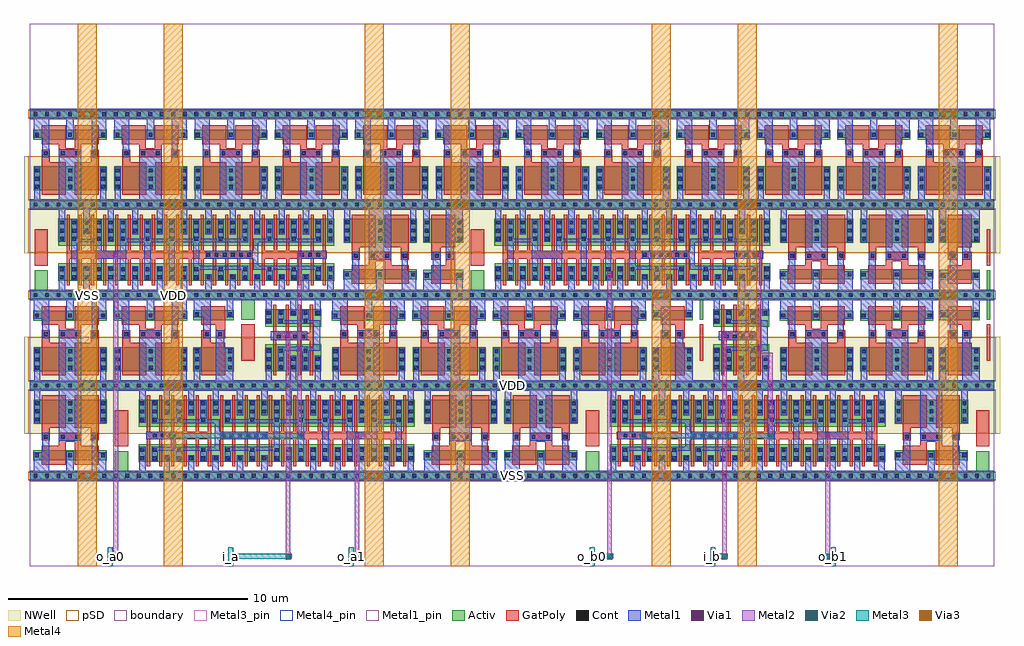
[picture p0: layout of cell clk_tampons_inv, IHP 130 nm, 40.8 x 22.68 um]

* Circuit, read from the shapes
.subckt clk_tampons_inv VDD VSS i_a i_b o_a0 o_a1 o_b0 o_b1
XM1 VSS VDD VSS VSS sg13_lv_nmos w=0.42u l=1u m=59
XM2 o_a0 n1 VSS VSS sg13_lv_nmos w=0.74u l=0.13u m=16
XM3 n2 sg13cmos5l_buf_16_68/A VSS VSS sg13_lv_nmos w=0.74u l=0.13u m=6
XM4 o_a1 n2 VSS VSS sg13_lv_nmos w=0.74u l=0.13u m=16
XM5 n1 sg13cmos5l_buf_16_68/A VSS VSS sg13_lv_nmos w=0.74u l=0.13u m=6
XM6 sg13cmos5l_buf_16_68/A i_a VSS VSS sg13_lv_nmos w=0.74u l=0.13u m=4
XM7 o_b0 n3 VSS VSS sg13_lv_nmos w=0.74u l=0.13u m=16
XM8 n4 sg13cmos5l_buf_16_122/A VSS VSS sg13_lv_nmos w=0.74u l=0.13u m=6
XM9 o_b1 n4 VSS VSS sg13_lv_nmos w=0.74u l=0.13u m=16
XM10 n3 sg13cmos5l_buf_16_122/A VSS VSS sg13_lv_nmos w=0.74u l=0.13u m=6
XM11 sg13cmos5l_buf_16_122/A i_b VSS VSS sg13_lv_nmos w=0.74u l=0.13u m=4
XM12 VDD VSS VDD VDD sg13_lv_pmos w=1u l=1u m=59
XM13 o_a0 n1 VDD VDD sg13_lv_pmos w=1.12u l=0.13u m=16
XM14 n2 sg13cmos5l_buf_16_68/A VDD VDD sg13_lv_pmos w=1.12u l=0.13u m=6
XM15 o_a1 n2 VDD VDD sg13_lv_pmos w=1.12u l=0.13u m=16
XM16 n1 sg13cmos5l_buf_16_68/A VDD VDD sg13_lv_pmos w=1.12u l=0.13u m=6
XM17 sg13cmos5l_buf_16_68/A i_a VDD VDD sg13_lv_pmos w=1.12u l=0.13u m=4
XM18 o_b0 n3 VDD VDD sg13_lv_pmos w=1.12u l=0.13u m=16
XM19 n4 sg13cmos5l_buf_16_122/A VDD VDD sg13_lv_pmos w=1.12u l=0.13u m=6
XM20 o_b1 n4 VDD VDD sg13_lv_pmos w=1.12u l=0.13u m=16
XM21 n3 sg13cmos5l_buf_16_122/A VDD VDD sg13_lv_pmos w=1.12u l=0.13u m=6
XM22 sg13cmos5l_buf_16_122/A i_b VDD VDD sg13_lv_pmos w=1.12u l=0.13u m=4
.ends

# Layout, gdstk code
from math import pi, radians
import gdstk
lib = gdstk.Library(unit=1e-6, precision=1e-09)
def R(c, l, rs):  # rectangles x0, y0, x1, y1
    for r in rs: c.add(gdstk.rectangle(r[:2], r[2:], *l))
def A(c, l, x, y, w, h, nx, ny, dx, dy):  # array of equal rectangles
    R(c, l, [(x+i*dx, y+j*dy, x+i*dx+w, y+j*dy+h) for i in range(nx) for j in range(ny)])
def P(c, l, *ps):  # polygons
    for p in ps: c.add(gdstk.Polygon(p, *l))
Activ = (1, 0)
GatPoly = (5, 0)
Cont = (6, 0)
Metal1 = (8, 0)
Metal1_pin = (8, 2)
Metal2 = (10, 0)
pSD = (14, 0)
Via1 = (19, 0)
Via2 = (29, 0)
Metal3 = (30, 0)
Metal3_pin = (30, 2)
NWell = (31, 0)
Via3 = (49, 0)
Metal4 = (50, 0)
Metal4_pin = (50, 2)
boundary = (189, 4)

via_via1_xy = lib.new_cell('VIA_Via1_XY')
R(via_via1_xy, Metal1, [(-0.145,-0.105,0.145,0.105)])
R(via_via1_xy, Metal2, [(-0.1,-0.145,0.1,0.145)])
R(via_via1_xy, Via1, [(-0.095,-0.095,0.095,0.095)])

sg13cmos5l_inv_4 = lib.new_cell('sg13cmos5l_inv_4')
R(sg13cmos5l_inv_4, Activ, [(0,-0.15,2.88,0.15), (0.245,0.59,2.585,1.33), (0.245,2.06,2.585,3.18), (0,3.63,2.88,3.93)])
P(sg13cmos5l_inv_4, GatPoly, [(0.585,0.41),(0.585,3.36),(0.715,3.36),(0.715,1.9),(1.095,1.9),(1.095,3.36),(1.225,3.36),(1.225,1.9),(1.605,1.9),(1.605,3.36),(1.735,3.36),(1.735,1.9),(2.115,1.9),(2.115,3.36),(2.245,3.36),(2.245,0.41),(2.115,0.41),(2.115,1.57),(1.735,1.57),(1.735,0.41),(1.605,0.41),(1.605,1.57),(1.225,1.57),(1.225,0.41),(1.095,0.41),(1.095,1.57),(0.715,1.57),(0.715,0.41)])
A(sg13cmos5l_inv_4, Cont, 0.315, 0.66, 0.16, 0.16, 5, 2, 0.51, 2.285)
A(sg13cmos5l_inv_4, Cont, 0.735, 1.655, 0.16, 0.16, 4, 1, 0.34, 0)
R(sg13cmos5l_inv_4, Cont, [(0.16,-0.08,0.32,0.08), (0.16,-0.08,0.32,0.08), (0.64,-0.08,0.8,0.08), (0.64,-0.08,0.8,0.08), (1.12,-0.08,1.28,0.08), (1.12,-0.08,1.28,0.08), (1.6,-0.08,1.76,0.08), (1.6,-0.08,1.76,0.08), (2.08,-0.08,2.24,0.08), (2.08,-0.08,2.24,0.08), (2.56,-0.08,2.72,0.08), (2.56,-0.08,2.72,0.08), (0.315,1,0.475,1.16), (0.825,1,0.985,1.16), (1.845,1,2.005,1.16), (0.315,2.255,0.475,2.415), (0.825,2.255,0.985,2.415), (1.845,2.255,2.005,2.415), (1.335,2.595,1.495,2.755), (2.355,2.595,2.515,2.755), (0.315,2.605,0.475,2.765), (0.825,2.605,0.985,2.765), (1.845,2.605,2.005,2.765), (0.16,3.7,0.32,3.86), (0.16,3.7,0.32,3.86), (0.64,3.7,0.8,3.86), (0.64,3.7,0.8,3.86), (1.12,3.7,1.28,3.86), (1.12,3.7,1.28,3.86), (1.6,3.7,1.76,3.86), (1.6,3.7,1.76,3.86), (2.08,3.7,2.24,3.86), (2.08,3.7,2.24,3.86), (2.56,3.7,2.72,3.86), (2.56,3.7,2.72,3.86)])
R(sg13cmos5l_inv_4, Metal1, [(0.48,1.52,2,1.9)])
P(sg13cmos5l_inv_4, Metal1, [(0,-0.22),(0,0.22),(0.265,0.22),(0.265,1.21),(0.525,1.21),(0.525,0.22),(1.28,0.22),(1.28,0.87),(1.55,0.87),(1.55,0.22),(2.305,0.22),(2.305,0.87),(2.565,0.87),(2.565,0.22),(2.88,0.22),(2.88,-0.22)],
  [(0.265,2.205),(0.265,3.56),(0,3.56),(0,4),(2.88,4),(2.88,3.56),(2.565,3.56),(2.565,2.545),(2.305,2.545),(2.305,3.56),(1.545,3.56),(1.545,2.545),(1.285,2.545),(1.285,3.56),(0.525,3.56),(0.525,2.205)],
  [(0.775,0.61),(0.775,1.21),(2.245,1.21),(2.245,2.17),(0.775,2.17),(0.775,3.155),(1.035,3.155),(1.035,2.34),(1.795,2.34),(1.795,3.155),(2.055,3.155),(2.055,2.34),(2.54,2.34),(2.54,1.05),(2.055,1.05),(2.055,0.61),(1.795,0.61),(1.795,1.05),(1.035,1.05),(1.035,0.61)])
R(sg13cmos5l_inv_4, Metal1_pin, [(0,-0.22,2.88,0.22), (2.245,1.05,2.54,2.34), (0.48,1.52,2,1.9), (0,3.56,2.88,4)])
R(sg13cmos5l_inv_4, pSD, [(-0.07,-0.18,2.95,0.18), (-0.07,1.76,2.95,3.6)])
R(sg13cmos5l_inv_4, NWell, [(-0.24,1.75,3.12,4.17)])
R(sg13cmos5l_inv_4, boundary, [(0,0,2.88,3.78)])
sg13cmos5l_inv_4.add(gdstk.Label('VSS', (1.405,0.005), layer=8, texttype=25))
sg13cmos5l_inv_4.add(gdstk.Label('Y', (2.4,1.68), layer=8, texttype=25))
sg13cmos5l_inv_4.add(gdstk.Label('VDD', (1.925,3.8), layer=8, texttype=25))
sg13cmos5l_inv_4.add(gdstk.Label('A', (0.96,1.68), layer=8, texttype=25))

sg13cmos5l_buf_16 = lib.new_cell('sg13cmos5l_buf_16')
R(sg13cmos5l_buf_16, Activ, [(0,-0.15,12,0.15), (0.24,0.59,11.76,1.33), (0.225,2.06,11.76,3.18), (0,3.63,12,3.93)])
P(sg13cmos5l_buf_16, GatPoly, [(0.58,0.41),(0.58,3.36),(0.71,3.36),(0.71,1.85),(1.09,1.85),(1.09,3.36),(1.22,3.36),(1.22,1.85),(1.6,1.85),(1.6,3.36),(1.73,3.36),(1.73,1.85),(2.11,1.85),(2.11,3.36),(2.24,3.36),(2.24,1.85),(2.62,1.85),(2.62,3.36),(2.75,3.36),(2.75,1.85),(3.13,1.85),(3.13,3.36),(3.26,3.36),(3.26,1.85),(3.64,1.85),(3.64,3.36),(3.77,3.36),(3.77,1.85),(4.15,1.85),(4.15,3.36),(4.28,3.36),(4.28,1.85),(4.66,1.85),(4.66,3.36),(4.79,3.36),(4.79,1.85),(5.17,1.85),(5.17,3.36),(5.3,3.36),(5.3,1.85),(5.68,1.85),(5.68,3.36),(5.81,3.36),(5.81,1.85),(6.19,1.85),(6.19,3.36),(6.32,3.36),(6.32,1.85),(6.7,1.85),(6.7,3.36),(6.83,3.36),(6.83,1.85),(7.21,1.85),(7.21,3.36),(7.34,3.36),(7.34,1.85),(7.72,1.85),(7.72,3.36),(7.85,3.36),(7.85,1.85),(8.23,1.85),(8.23,3.36),(8.36,3.36),(8.36,0.41),(8.23,0.41),(8.23,1.52),(7.85,1.52),(7.85,0.41),(7.72,0.41),(7.72,1.52),(7.34,1.52),(7.34,0.41),(7.21,0.41),(7.21,1.52),(6.83,1.52),(6.83,0.41),(6.7,0.41),(6.7,1.52),(6.32,1.52),(6.32,0.41),(6.19,0.41),(6.19,1.52),(5.81,1.52),(5.81,0.41),(5.68,0.41),(5.68,1.52),(5.3,1.52),(5.3,0.41),(5.17,0.41),(5.17,1.52),(4.79,1.52),(4.79,0.41),(4.66,0.41),(4.66,1.52),(4.28,1.52),(4.28,0.41),(4.15,0.41),(4.15,1.52),(3.77,1.52),(3.77,0.41),(3.64,0.41),(3.64,1.52),(3.26,1.52),(3.26,0.41),(3.13,0.41),(3.13,1.52),(2.75,1.52),(2.75,0.41),(2.62,0.41),(2.62,1.52),(2.24,1.52),(2.24,0.41),(2.11,0.41),(2.11,1.52),(1.73,1.52),(1.73,0.41),(1.6,0.41),(1.6,1.52),(1.22,1.52),(1.22,0.41),(1.09,0.41),(1.09,1.52),(0.71,1.52),(0.71,0.41)],
  [(8.74,0.41),(8.74,3.36),(8.87,3.36),(8.87,1.85),(9.25,1.85),(9.25,3.36),(9.38,3.36),(9.38,1.85),(9.76,1.85),(9.76,3.36),(9.89,3.36),(9.89,1.85),(10.27,1.85),(10.27,3.36),(10.4,3.36),(10.4,1.85),(10.78,1.85),(10.78,3.36),(10.91,3.36),(10.91,1.85),(11.29,1.85),(11.29,3.36),(11.42,3.36),(11.42,1.85),(11.46,1.85),(11.46,1.52),(11.42,1.52),(11.42,0.41),(11.29,0.41),(11.29,1.52),(10.91,1.52),(10.91,0.41),(10.78,0.41),(10.78,1.52),(10.4,1.52),(10.4,0.41),(10.27,0.41),(10.27,1.52),(9.89,1.52),(9.89,0.41),(9.76,0.41),(9.76,1.52),(9.38,1.52),(9.38,0.41),(9.25,0.41),(9.25,1.52),(8.87,1.52),(8.87,0.41)])
A(sg13cmos5l_buf_16, Cont, 0.31, 0.66, 0.16, 0.16, 23, 2, 0.51, 1.95)
A(sg13cmos5l_buf_16, Cont, 0.82, 1, 0.16, 0.16, 3, 1, 1.02, 0)
A(sg13cmos5l_buf_16, Cont, 3.37, 1, 0.16, 0.16, 6, 1, 0.51, 0)
A(sg13cmos5l_buf_16, Cont, 6.94, 1, 0.16, 0.16, 5, 1, 1.02, 0)
A(sg13cmos5l_buf_16, Cont, 6.43, 1.605, 0.16, 0.16, 6, 1, 0.34, 0)
A(sg13cmos5l_buf_16, Cont, 10.335, 1.605, 0.16, 0.16, 3, 1, 0.34, 0)
A(sg13cmos5l_buf_16, Cont, 1.84, 2.27, 0.16, 0.16, 3, 1, 0.51, 0)
A(sg13cmos5l_buf_16, Cont, 3.88, 2.27, 0.16, 0.16, 8, 1, 1.02, 0)
A(sg13cmos5l_buf_16, Cont, 0.31, 2.95, 0.16, 0.16, 23, 1, 0.51, 0)
R(sg13cmos5l_buf_16, Cont, [(0.16,-0.08,0.32,0.08), (0.16,-0.08,0.32,0.08), (0.64,-0.08,0.8,0.08), (0.64,-0.08,0.8,0.08), (1.12,-0.08,1.28,0.08), (1.12,-0.08,1.28,0.08), (1.6,-0.08,1.76,0.08), (1.6,-0.08,1.76,0.08), (2.08,-0.08,2.24,0.08), (2.08,-0.08,2.24,0.08), (2.56,-0.08,2.72,0.08), (2.56,-0.08,2.72,0.08), (3.04,-0.08,3.2,0.08), (3.04,-0.08,3.2,0.08), (3.52,-0.08,3.68,0.08), (3.52,-0.08,3.68,0.08), (4,-0.08,4.16,0.08), (4,-0.08,4.16,0.08), (4.48,-0.08,4.64,0.08), (4.48,-0.08,4.64,0.08), (4.96,-0.08,5.12,0.08), (4.96,-0.08,5.12,0.08), (5.44,-0.08,5.6,0.08), (5.44,-0.08,5.6,0.08), (5.92,-0.08,6.08,0.08), (5.92,-0.08,6.08,0.08), (6.4,-0.08,6.56,0.08), (6.4,-0.08,6.56,0.08), (6.88,-0.08,7.04,0.08), (6.88,-0.08,7.04,0.08), (7.36,-0.08,7.52,0.08), (7.36,-0.08,7.52,0.08), (7.84,-0.08,8,0.08), (7.84,-0.08,8,0.08), (8.32,-0.08,8.48,0.08), (8.32,-0.08,8.48,0.08), (8.8,-0.08,8.96,0.08), (8.8,-0.08,8.96,0.08), (9.28,-0.08,9.44,0.08), (9.28,-0.08,9.44,0.08), (9.76,-0.08,9.92,0.08), (9.76,-0.08,9.92,0.08), (10.24,-0.08,10.4,0.08), (10.24,-0.08,10.4,0.08), (10.72,-0.08,10.88,0.08), (10.72,-0.08,10.88,0.08), (11.2,-0.08,11.36,0.08), (11.2,-0.08,11.36,0.08), (11.68,-0.08,11.84,0.08), (11.68,-0.08,11.84,0.08), (0.31,1,0.47,1.16), (11.53,1,11.69,1.16), (1.33,1.005,1.49,1.165), (2.35,1.005,2.51,1.165), (11.53,2.265,11.69,2.425), (0.31,2.27,0.47,2.43), (0.82,2.27,0.98,2.43), (0.16,3.7,0.32,3.86), (0.16,3.7,0.32,3.86), (0.64,3.7,0.8,3.86), (0.64,3.7,0.8,3.86), (1.12,3.7,1.28,3.86), (1.12,3.7,1.28,3.86), (1.6,3.7,1.76,3.86), (1.6,3.7,1.76,3.86), (2.08,3.7,2.24,3.86), (2.08,3.7,2.24,3.86), (2.56,3.7,2.72,3.86), (2.56,3.7,2.72,3.86), (3.04,3.7,3.2,3.86), (3.04,3.7,3.2,3.86), (3.52,3.7,3.68,3.86), (3.52,3.7,3.68,3.86), (4,3.7,4.16,3.86), (4,3.7,4.16,3.86), (4.48,3.7,4.64,3.86), (4.48,3.7,4.64,3.86), (4.96,3.7,5.12,3.86), (4.96,3.7,5.12,3.86), (5.44,3.7,5.6,3.86), (5.44,3.7,5.6,3.86), (5.92,3.7,6.08,3.86), (5.92,3.7,6.08,3.86), (6.4,3.7,6.56,3.86), (6.4,3.7,6.56,3.86), (6.88,3.7,7.04,3.86), (6.88,3.7,7.04,3.86), (7.36,3.7,7.52,3.86), (7.36,3.7,7.52,3.86), (7.84,3.7,8,3.86), (7.84,3.7,8,3.86), (8.32,3.7,8.48,3.86), (8.32,3.7,8.48,3.86), (8.8,3.7,8.96,3.86), (8.8,3.7,8.96,3.86), (9.28,3.7,9.44,3.86), (9.28,3.7,9.44,3.86), (9.76,3.7,9.92,3.86), (9.76,3.7,9.92,3.86), (10.24,3.7,10.4,3.86), (10.24,3.7,10.4,3.86), (10.72,3.7,10.88,3.86), (10.72,3.7,10.88,3.86), (11.2,3.7,11.36,3.86), (11.2,3.7,11.36,3.86), (11.68,3.7,11.84,3.86), (11.68,3.7,11.84,3.86)])
R(sg13cmos5l_buf_16, Metal1, [(10.26,1.52,11.44,1.85)])
P(sg13cmos5l_buf_16, Metal1, [(0.77,0.61),(0.77,3.16),(1.03,3.16),(1.03,2.36),(1.79,2.36),(1.79,3.16),(2.05,3.16),(2.05,1.85),(2.81,1.85),(2.81,3.16),(3.07,3.16),(3.07,2.36),(3.83,2.36),(3.83,3.16),(4.09,3.16),(4.09,2.36),(4.85,2.36),(4.85,3.16),(5.11,3.16),(5.11,2.36),(5.87,2.36),(5.87,3.16),(6.13,3.16),(6.13,2.36),(6.89,2.36),(6.89,3.16),(7.15,3.16),(7.15,2.36),(7.91,2.36),(7.91,3.16),(8.17,3.16),(8.17,2.2),(6.13,2.2),(6.13,1.22),(8.17,1.22),(8.17,0.61),(7.91,0.61),(7.91,1.05),(7.15,1.05),(7.15,0.61),(6.89,0.61),(6.89,1.05),(6.13,1.05),(6.13,0.61),(5.87,0.61),(5.87,2.2),(5.11,2.2),(5.11,0.61),(4.85,0.61),(4.85,2.2),(4.09,2.2),(4.09,0.61),(3.83,0.61),(3.83,2.2),(3.07,2.2),(3.07,0.61),(2.81,0.61),(2.81,1.52),(2.05,1.52),(2.05,0.61),(1.79,0.61),(1.79,2.2),(1.03,2.2),(1.03,0.61)],
  [(8.93,0.61),(8.93,1.05),(8.385,1.05),(8.385,1.52),(6.395,1.52),(6.395,1.85),(8.385,1.85),(8.385,2.36),(8.93,2.36),(8.93,3.16),(9.19,3.16),(9.19,2.36),(9.95,2.36),(9.95,3.16),(10.21,3.16),(10.21,2.36),(10.97,2.36),(10.97,3.16),(11.23,3.16),(11.23,2.2),(8.595,2.2),(8.595,1.22),(11.23,1.22),(11.23,0.61),(10.97,0.61),(10.97,1.05),(10.21,1.05),(10.21,0.61),(9.95,0.61),(9.95,1.05),(9.19,1.05),(9.19,0.61)],
  [(11.48,2.215),(11.48,3.56),(10.72,3.56),(10.72,2.545),(10.46,2.545),(10.46,3.56),(9.7,3.56),(9.7,2.54),(9.44,2.54),(9.44,3.56),(8.68,3.56),(8.68,2.54),(8.42,2.54),(8.42,3.56),(7.66,3.56),(7.66,2.54),(7.4,2.54),(7.4,3.56),(6.64,3.56),(6.64,2.54),(6.38,2.54),(6.38,3.56),(5.62,3.56),(5.62,2.54),(5.36,2.54),(5.36,3.56),(4.6,3.56),(4.6,2.54),(4.34,2.54),(4.34,3.56),(3.58,3.56),(3.58,2.54),(3.32,2.54),(3.32,3.56),(2.56,3.56),(2.56,2.22),(2.3,2.22),(2.3,3.56),(1.54,3.56),(1.54,2.54),(1.28,2.54),(1.28,3.56),(0.52,3.56),(0.52,2.22),(0.26,2.22),(0.26,3.56),(0,3.56),(0,4),(12,4),(12,3.56),(11.74,3.56),(11.74,2.215)],
  [(0,-0.22),(0,0.22),(0.26,0.22),(0.26,1.21),(0.52,1.21),(0.52,0.22),(1.28,0.22),(1.28,1.21),(1.54,1.21),(1.54,0.22),(2.3,0.22),(2.3,1.21),(2.56,1.21),(2.56,0.22),(3.32,0.22),(3.32,1.195),(3.58,1.195),(3.58,0.22),(4.34,0.22),(4.34,1.195),(4.6,1.195),(4.6,0.22),(5.36,0.22),(5.36,1.195),(5.62,1.195),(5.62,0.22),(6.38,0.22),(6.38,0.87),(6.64,0.87),(6.64,0.22),(7.4,0.22),(7.4,0.87),(7.66,0.87),(7.66,0.22),(8.42,0.22),(8.42,0.87),(8.685,0.87),(8.685,0.22),(9.44,0.22),(9.44,0.87),(9.7,0.87),(9.7,0.22),(10.46,0.22),(10.46,0.87),(10.72,0.87),(10.72,0.22),(11.48,0.22),(11.48,1.21),(11.74,1.21),(11.74,0.22),(12,0.22),(12,-0.22)])
R(sg13cmos5l_buf_16, Metal1_pin, [(0,-0.22,12,0.22), (1.79,1.52,3.07,1.85), (10.26,1.52,11.44,1.85), (0,3.56,12,4)])
R(sg13cmos5l_buf_16, pSD, [(-0.07,-0.18,12.07,0.18), (-0.07,1.76,12.07,3.6)])
R(sg13cmos5l_buf_16, NWell, [(-0.24,1.75,12.24,4.17)])
R(sg13cmos5l_buf_16, boundary, [(0,0,12,3.78)])
sg13cmos5l_buf_16.add(gdstk.Label('X', (2.42,1.68), layer=8, texttype=25))
sg13cmos5l_buf_16.add(gdstk.Label('A', (10.855,1.755), layer=8, texttype=25))
sg13cmos5l_buf_16.add(gdstk.Label('VSS', (6.01,0.055), layer=8, texttype=25))
sg13cmos5l_buf_16.add(gdstk.Label('VDD', (5.78,3.835), layer=8, texttype=25))

sg13cmos5l_fill_1 = lib.new_cell('sg13cmos5l_fill_1')
R(sg13cmos5l_fill_1, Activ, [(0,-0.15,0.48,0.15), (0.16,0.15,0.32,1.03), (0,3.63,0.48,3.93)])
R(sg13cmos5l_fill_1, GatPoly, [(0.16,1.23,0.32,2.75)])
R(sg13cmos5l_fill_1, Cont, [(0.16,-0.08,0.32,0.08), (0.16,-0.08,0.32,0.08), (0.16,3.7,0.32,3.86), (0.16,3.7,0.32,3.86)])
R(sg13cmos5l_fill_1, Metal1, [(0,-0.22,0.48,0.22), (0,3.56,0.48,4)])
R(sg13cmos5l_fill_1, Metal1_pin, [(0,-0.22,0.48,0.22), (0,3.56,0.48,4)])
R(sg13cmos5l_fill_1, pSD, [(-0.07,-0.18,0.55,0.18), (-0.07,1.76,0.55,3.6)])
R(sg13cmos5l_fill_1, NWell, [(-0.24,1.75,0.72,4.17)])
R(sg13cmos5l_fill_1, boundary, [(0,0,0.48,3.78)])
sg13cmos5l_fill_1.add(gdstk.Label('VSS', (0.255,0), layer=8, texttype=25))
sg13cmos5l_fill_1.add(gdstk.Label('VDD', (0.245,3.785), layer=8, texttype=25))

sg13cmos5l_decap_4 = lib.new_cell('sg13cmos5l_decap_4')
R(sg13cmos5l_decap_4, Activ, [(0,-0.15,1.92,0.15), (0.12,0.645,1.8,1.065), (0.12,2.18,1.8,3.18), (0,3.63,1.92,3.93)])
P(sg13cmos5l_decap_4, GatPoly, [(0.46,0.465),(0.46,1.245),(1.065,1.245),(1.065,1.8),(1.46,1.8),(1.46,0.465)],
  [(0.46,1.475),(0.46,3.36),(1.46,3.36),(1.46,2),(0.855,2),(0.855,1.475)])
A(sg13cmos5l_decap_4, Cont, 0.16, -0.08, 0.16, 0.16, 4, 2, 0.48, 3.78)
A(sg13cmos5l_decap_4, Cont, 0.19, 2.27, 0.16, 0.16, 1, 3, 0, 0.34)
A(sg13cmos5l_decap_4, Cont, 1.57, 2.27, 0.16, 0.16, 1, 3, 0, 0.34)
R(sg13cmos5l_decap_4, Cont, [(0.19,0.72,0.35,0.88), (1.57,0.72,1.73,0.88), (1.15,1.555,1.31,1.715), (0.61,1.56,0.77,1.72)])
P(sg13cmos5l_decap_4, Metal1, [(1.065,1.47),(1.065,3.56),(0.4,3.56),(0.4,2.22),(0.13,2.22),(0.13,3.56),(0,3.56),(0,4),(1.92,4),(1.92,3.56),(1.79,3.56),(1.79,2.22),(1.405,2.22),(1.405,1.47)],
  [(0,-0.22),(0,0.22),(0.13,0.22),(0.13,0.935),(0.53,0.935),(0.53,1.805),(0.855,1.805),(0.855,0.22),(1.51,0.22),(1.51,0.935),(1.79,0.935),(1.79,0.22),(1.92,0.22),(1.92,-0.22)])
R(sg13cmos5l_decap_4, Metal1_pin, [(0,-0.22,1.92,0.22), (0,3.56,1.92,4)])
R(sg13cmos5l_decap_4, pSD, [(-0.07,-0.18,1.99,0.18), (-0.16,1.76,1.99,3.6)])
R(sg13cmos5l_decap_4, NWell, [(-0.24,1.75,2.16,4.17)])
R(sg13cmos5l_decap_4, boundary, [(0,0,1.92,3.78)])
sg13cmos5l_decap_4.add(gdstk.Label('VSS', (1.08,0), layer=8, texttype=25))
sg13cmos5l_decap_4.add(gdstk.Label('VDD', (0.95,3.78), layer=8, texttype=25))

sg13cmos5l_fill_2 = lib.new_cell('sg13cmos5l_fill_2')
R(sg13cmos5l_fill_2, Activ, [(0,-0.15,0.96,0.15), (0.2,0.15,0.76,1.03), (0,3.63,0.96,3.93)])
R(sg13cmos5l_fill_2, GatPoly, [(0.2,1.23,0.76,2.75)])
R(sg13cmos5l_fill_2, Cont, [(0.16,-0.08,0.32,0.08), (0.16,-0.08,0.32,0.08), (0.64,-0.08,0.8,0.08), (0.64,-0.08,0.8,0.08), (0.16,3.7,0.32,3.86), (0.16,3.7,0.32,3.86), (0.64,3.7,0.8,3.86), (0.64,3.7,0.8,3.86)])
R(sg13cmos5l_fill_2, Metal1, [(0,-0.22,0.96,0.22), (0,3.56,0.96,4)])
R(sg13cmos5l_fill_2, Metal1_pin, [(0,-0.22,0.96,0.22), (0,3.56,0.96,4)])
R(sg13cmos5l_fill_2, pSD, [(-0.07,-0.18,1.03,0.18), (-0.07,1.76,1.03,3.6)])
R(sg13cmos5l_fill_2, NWell, [(-0.24,1.75,1.2,4.17)])
R(sg13cmos5l_fill_2, boundary, [(0,0,0.96,3.78)])
sg13cmos5l_fill_2.add(gdstk.Label('VDD', (0.495,3.78), layer=8, texttype=25))
sg13cmos5l_fill_2.add(gdstk.Label('VSS', (0.49,0), layer=8, texttype=25))

sg13cmos5l_decap_8 = lib.new_cell('sg13cmos5l_decap_8')
R(sg13cmos5l_decap_8, Activ, [(0,-0.15,3.36,0.15), (0.155,0.65,3.215,1.07), (0.165,2.185,3.225,3.185), (0,3.63,3.36,3.93)])
P(sg13cmos5l_decap_8, GatPoly, [(0.505,1.48),(0.505,3.365),(1.505,3.365),(1.505,2.005),(0.835,2.005),(0.835,1.48)],
  [(2.555,1.48),(2.555,2.005),(1.885,2.005),(1.885,3.365),(2.885,3.365),(2.885,1.48)],
  [(0.495,0.47),(0.495,1.25),(1.22,1.25),(1.22,1.805),(2.155,1.805),(2.155,1.25),(2.875,1.25),(2.875,0.47),(1.875,0.47),(1.875,1.415),(1.495,1.415),(1.495,0.47)])
A(sg13cmos5l_decap_8, Cont, 0.16, -0.08, 0.16, 0.16, 7, 2, 0.48, 3.78)
A(sg13cmos5l_decap_8, Cont, 0.225, 0.78, 0.16, 0.16, 3, 1, 1.38, 0)
A(sg13cmos5l_decap_8, Cont, 0.235, 2.275, 0.16, 0.16, 3, 3, 1.38, 0.34)
R(sg13cmos5l_decap_8, Cont, [(1.3,1.555,1.46,1.715), (1.905,1.555,2.065,1.715), (0.59,1.56,0.75,1.72), (2.63,1.56,2.79,1.72)])
P(sg13cmos5l_decap_8, Metal1, [(1.22,1.475),(1.22,3.56),(0.445,3.56),(0.445,2.205),(0.185,2.205),(0.185,3.56),(0,3.56),(0,4),(3.36,4),(3.36,3.56),(3.205,3.56),(3.205,2.21),(2.945,2.21),(2.945,3.56),(2.155,3.56),(2.155,1.475)],
  [(0,-0.22),(0,0.22),(0.175,0.22),(0.175,0.99),(0.52,0.99),(0.52,1.81),(0.81,1.81),(0.81,0.22),(1.53,0.22),(1.53,1.03),(1.835,1.03),(1.835,0.22),(2.585,0.22),(2.585,1.81),(2.835,1.81),(2.835,0.99),(3.195,0.99),(3.195,0.22),(3.36,0.22),(3.36,-0.22)])
R(sg13cmos5l_decap_8, Metal1_pin, [(0,-0.22,3.36,0.22), (0,3.56,3.36,4)])
R(sg13cmos5l_decap_8, pSD, [(-0.07,-0.18,3.43,0.18), (-0.07,1.76,3.43,3.6)])
R(sg13cmos5l_decap_8, NWell, [(-0.24,1.75,3.6,4.17)])
R(sg13cmos5l_decap_8, boundary, [(0,0,3.36,3.78)])
sg13cmos5l_decap_8.add(gdstk.Label('VSS', (1.68,0), layer=8, texttype=25))
sg13cmos5l_decap_8.add(gdstk.Label('VDD', (1.68,3.78), layer=8, texttype=25))

via_via1_2_800_440_1_2_4 = lib.new_cell('VIA_via1_2_800_440_1_2_410_410')
R(via_via1_2_800_440_1_2_4, Metal1, [(-0.35,-0.22,0.35,0.22)])
R(via_via1_2_800_440_1_2_4, Metal2, [(-0.305,-0.145,0.305,0.145)])
R(via_via1_2_800_440_1_2_4, Via1, [(-0.3,-0.095,-0.11,0.095), (0.11,-0.095,0.3,0.095)])

via_via2_3_800_440_1_2_4 = lib.new_cell('VIA_via2_3_800_440_1_2_410_410')
R(via_via2_3_800_440_1_2_4, Metal2, [(-0.305,-0.145,0.305,0.145)])
R(via_via2_3_800_440_1_2_4, Via2, [(-0.3,-0.095,-0.11,0.095), (0.11,-0.095,0.3,0.095)])
R(via_via2_3_800_440_1_2_4, Metal3, [(-0.35,-0.1,0.35,0.1)])

via_via3_4_800_440_1_2_4 = lib.new_cell('VIA_via3_4_800_440_1_2_410_410')
R(via_via3_4_800_440_1_2_4, Metal3, [(-0.35,-0.1,0.35,0.1)])
R(via_via3_4_800_440_1_2_4, Via3, [(-0.3,-0.095,-0.11,0.095), (0.11,-0.095,0.3,0.095)])
R(via_via3_4_800_440_1_2_4, Metal4, [(-0.4,-0.145,0.4,0.145)])

via_via1_yy = lib.new_cell('VIA_Via1_YY')
R(via_via1_yy, Metal1, [(-0.105,-0.145,0.105,0.145)])
R(via_via1_yy, Metal2, [(-0.1,-0.145,0.1,0.145)])
R(via_via1_yy, Via1, [(-0.095,-0.095,0.095,0.095)])

via_via2_yx = lib.new_cell('VIA_Via2_YX')
R(via_via2_yx, Metal2, [(-0.105,-0.145,0.105,0.145)])
R(via_via2_yx, Via2, [(-0.095,-0.095,0.095,0.095)])
R(via_via2_yx, Metal3, [(-0.145,-0.1,0.145,0.1)])

clk_tampons_inv = lib.new_cell('clk_tampons_inv')
A(clk_tampons_inv, Metal1, 0, 3.56, 0.16, 0.44, 1, 5, 0, 3.78)
A(clk_tampons_inv, Metal1, 0, 3.56, 40.32, 0.44, 1, 5, 0, 3.78)
A(clk_tampons_inv, Metal1, 40.16, 3.56, 0.16, 0.44, 1, 5, 0, 3.78)
A(clk_tampons_inv, Metal1_pin, 0, 3.56, 0.16, 0.44, 1, 5, 0, 3.78)
A(clk_tampons_inv, Metal1_pin, 0, 3.56, 40.32, 0.44, 1, 5, 0, 3.78)
A(clk_tampons_inv, Metal1_pin, 40.16, 3.56, 0.16, 0.44, 1, 5, 0, 3.78)
R(clk_tampons_inv, Metal2, [(5.9,4.89,6.1,5.46), (25.58,4.89,25.78,5.46)])
A(clk_tampons_inv, Metal3, 3.26, 0, 0.2, 0.8, 3, 1, 5.04, 0)
A(clk_tampons_inv, Metal3, 23.42, 0, 0.2, 0.8, 3, 1, 5.04, 0)
A(clk_tampons_inv, Metal3_pin, 3.26, 0, 0.2, 0.8, 3, 1, 5.04, 0)
A(clk_tampons_inv, Metal3_pin, 23.42, 0, 0.2, 0.8, 3, 1, 5.04, 0)
R(clk_tampons_inv, Metal4, [(2,0,2.8,0.2), (2,0,2.8,22.68), (5.6,0,6.4,0.2), (5.6,0,6.4,22.68), (14,0,14.8,0.2), (14,0,14.8,22.68), (17.6,0,18.4,0.2), (17.6,0,18.4,22.68), (26,0,26.8,0.2), (26,0,26.8,22.68), (29.6,0,30.4,0.2), (29.6,0,30.4,22.68), (38,0,38.8,0.2), (38,0,38.8,22.68), (2,22.48,2.8,22.68), (5.6,22.48,6.4,22.68), (14,22.48,14.8,22.68), (17.6,22.48,18.4,22.68), (26,22.48,26.8,22.68), (29.6,22.48,30.4,22.68), (38,22.48,38.8,22.68)])
R(clk_tampons_inv, Metal4_pin, [(2,0,2.8,0.2), (2,0,2.8,22.68), (5.6,0,6.4,0.2), (5.6,0,6.4,22.68), (14,0,14.8,0.2), (14,0,14.8,22.68), (17.6,0,18.4,0.2), (17.6,0,18.4,22.68), (26,0,26.8,0.2), (26,0,26.8,22.68), (29.6,0,30.4,0.2), (29.6,0,30.4,22.68), (38,0,38.8,0.2), (38,0,38.8,22.68), (2,22.48,2.8,22.68), (5.6,22.48,6.4,22.68), (14,22.48,14.8,22.68), (17.6,22.48,18.4,22.68), (26,22.48,26.8,22.68), (29.6,22.48,30.4,22.68), (38,22.48,38.8,22.68)])
R(clk_tampons_inv, boundary, [(0,0,40.32,22.68)])
clk_tampons_inv.add(gdstk.FlexPath([(0,15.12),(40.32,15.12)], 0.44, ends="flush", simple_path=True, layer=8, datatype=0))  # Metal1
clk_tampons_inv.add(gdstk.FlexPath([(0,7.56),(40.32,7.56)], 0.44, ends="flush", simple_path=True, layer=8, datatype=0))  # Metal1
clk_tampons_inv.add(gdstk.FlexPath([(0,18.9),(40.32,18.9)], 0.44, ends="flush", simple_path=True, layer=8, datatype=0))  # Metal1
clk_tampons_inv.add(gdstk.FlexPath([(0,11.34),(40.32,11.34)], 0.44, ends="flush", simple_path=True, layer=8, datatype=0))  # Metal1
clk_tampons_inv.add(gdstk.FlexPath([(0,3.78),(40.32,3.78)], 0.44, ends="flush", simple_path=True, layer=8, datatype=0))  # Metal1
clk_tampons_inv.add(gdstk.FlexPath([(10.8,0.42),(10.8,9.66)], 0.2, ends="extended", simple_path=True, layer=10, datatype=0))  # Metal2
clk_tampons_inv.add(gdstk.FlexPath([(29.04,0.42),(29.04,9.66)], 0.2, ends="extended", simple_path=True, layer=10, datatype=0))  # Metal2
clk_tampons_inv.add(gdstk.FlexPath([(3.6,0.42),(3.6,13.02)], 0.2, ends="extended", simple_path=True, layer=10, datatype=0))  # Metal2
clk_tampons_inv.add(gdstk.FlexPath([(13.68,0.42),(13.68,5.46)], 0.2, ends="extended", simple_path=True, layer=10, datatype=0))  # Metal2
clk_tampons_inv.add(gdstk.FlexPath([(24.24,0.42),(24.24,12.18)], 0.2, ends="extended", simple_path=True, layer=10, datatype=0))  # Metal2
clk_tampons_inv.add(gdstk.FlexPath([(33.36,0.42),(33.36,5.46)], 0.2, ends="extended", simple_path=True, layer=10, datatype=0))  # Metal2
clk_tampons_inv.add(gdstk.FlexPath([(11.28,5.46),(11.28,9.085)], 0.2, ends="extended", simple_path=True, layer=10, datatype=0))  # Metal2
clk_tampons_inv.add(gdstk.FlexPath([(11.28,9.085),(11.28,13.02)], 0.2, ends="extended", simple_path=True, layer=10, datatype=0))  # Metal2
clk_tampons_inv.add(gdstk.FlexPath([(30.48,8.82),(30.48,9.085)], 0.2, ends="extended", simple_path=True, layer=10, datatype=0))  # Metal2
clk_tampons_inv.add(gdstk.FlexPath([(30.48,8.82),(30.96,8.82)], 0.2, ends="extended", simple_path=True, layer=10, datatype=0))  # Metal2
clk_tampons_inv.add(gdstk.FlexPath([(30.96,5.46),(30.96,8.82)], 0.2, ends="extended", simple_path=True, layer=10, datatype=0))  # Metal2
clk_tampons_inv.add(gdstk.FlexPath([(30.48,9.085),(30.48,13.02)], 0.2, ends="extended", simple_path=True, layer=10, datatype=0))  # Metal2
clk_tampons_inv.add(gdstk.FlexPath([(29.64,15.12),(30.36,15.12)], 0.2, ends="flush", simple_path=True, layer=30, datatype=0))  # Metal3
clk_tampons_inv.add(gdstk.FlexPath([(29.64,7.56),(30.36,7.56)], 0.2, ends="flush", simple_path=True, layer=30, datatype=0))  # Metal3
clk_tampons_inv.add(gdstk.FlexPath([(17.64,15.12),(18.36,15.12)], 0.2, ends="flush", simple_path=True, layer=30, datatype=0))  # Metal3
clk_tampons_inv.add(gdstk.FlexPath([(17.64,7.56),(18.36,7.56)], 0.2, ends="flush", simple_path=True, layer=30, datatype=0))  # Metal3
clk_tampons_inv.add(gdstk.FlexPath([(5.64,15.12),(6.36,15.12)], 0.2, ends="flush", simple_path=True, layer=30, datatype=0))  # Metal3
clk_tampons_inv.add(gdstk.FlexPath([(5.64,7.56),(6.36,7.56)], 0.2, ends="flush", simple_path=True, layer=30, datatype=0))  # Metal3
clk_tampons_inv.add(gdstk.FlexPath([(38.04,18.9),(38.76,18.9)], 0.2, ends="flush", simple_path=True, layer=30, datatype=0))  # Metal3
clk_tampons_inv.add(gdstk.FlexPath([(38.04,11.34),(38.76,11.34)], 0.2, ends="flush", simple_path=True, layer=30, datatype=0))  # Metal3
clk_tampons_inv.add(gdstk.FlexPath([(38.04,3.78),(38.76,3.78)], 0.2, ends="flush", simple_path=True, layer=30, datatype=0))  # Metal3
clk_tampons_inv.add(gdstk.FlexPath([(26.04,18.9),(26.76,18.9)], 0.2, ends="flush", simple_path=True, layer=30, datatype=0))  # Metal3
clk_tampons_inv.add(gdstk.FlexPath([(26.04,11.34),(26.76,11.34)], 0.2, ends="flush", simple_path=True, layer=30, datatype=0))  # Metal3
clk_tampons_inv.add(gdstk.FlexPath([(26.04,3.78),(26.76,3.78)], 0.2, ends="flush", simple_path=True, layer=30, datatype=0))  # Metal3
clk_tampons_inv.add(gdstk.FlexPath([(14.04,18.9),(14.76,18.9)], 0.2, ends="flush", simple_path=True, layer=30, datatype=0))  # Metal3
clk_tampons_inv.add(gdstk.FlexPath([(14.04,11.34),(14.76,11.34)], 0.2, ends="flush", simple_path=True, layer=30, datatype=0))  # Metal3
clk_tampons_inv.add(gdstk.FlexPath([(14.04,3.78),(14.76,3.78)], 0.2, ends="flush", simple_path=True, layer=30, datatype=0))  # Metal3
clk_tampons_inv.add(gdstk.FlexPath([(2.04,18.9),(2.76,18.9)], 0.2, ends="flush", simple_path=True, layer=30, datatype=0))  # Metal3
clk_tampons_inv.add(gdstk.FlexPath([(2.04,11.34),(2.76,11.34)], 0.2, ends="flush", simple_path=True, layer=30, datatype=0))  # Metal3
clk_tampons_inv.add(gdstk.FlexPath([(2.04,3.78),(2.76,3.78)], 0.2, ends="flush", simple_path=True, layer=30, datatype=0))  # Metal3
clk_tampons_inv.add(gdstk.FlexPath([(8.4,0.42),(10.8,0.42)], 0.2, ends=(0, 0.1), simple_path=True, layer=30, datatype=0))  # Metal3
clk_tampons_inv.add(gdstk.FlexPath([(28.56,0.42),(29.04,0.42)], 0.2, ends=(0, 0.1), simple_path=True, layer=30, datatype=0))  # Metal3
clk_tampons_inv.add(gdstk.FlexPath([(3.36,0.42),(3.6,0.42)], 0.2, ends=(0, 0.1), simple_path=True, layer=30, datatype=0))  # Metal3
clk_tampons_inv.add(gdstk.FlexPath([(13.44,0.42),(13.68,0.42)], 0.2, ends=(0, 0.1), simple_path=True, layer=30, datatype=0))  # Metal3
clk_tampons_inv.add(gdstk.FlexPath([(23.52,0.42),(24.24,0.42)], 0.2, ends=(0, 0.1), simple_path=True, layer=30, datatype=0))  # Metal3
clk_tampons_inv.add(gdstk.FlexPath([(33.36,0.42),(33.6,0.42)], 0.2, ends=(0.1, 0), simple_path=True, layer=30, datatype=0))  # Metal3
clk_tampons_inv.add(gdstk.FlexPath([(6,5.46),(11.28,5.46)], 0.2, ends="extended", simple_path=True, layer=30, datatype=0))  # Metal3
clk_tampons_inv.add(gdstk.FlexPath([(25.68,5.46),(30.96,5.46)], 0.2, ends="extended", simple_path=True, layer=30, datatype=0))  # Metal3
clk_tampons_inv.add(gdstk.FlexPath([(30,0),(30,22.68)], 0.8, ends="flush", simple_path=True, layer=50, datatype=0))  # Metal4
clk_tampons_inv.add(gdstk.FlexPath([(18,0),(18,22.68)], 0.8, ends="flush", simple_path=True, layer=50, datatype=0))  # Metal4
clk_tampons_inv.add(gdstk.FlexPath([(6,0),(6,22.68)], 0.8, ends="flush", simple_path=True, layer=50, datatype=0))  # Metal4
clk_tampons_inv.add(gdstk.FlexPath([(38.4,0),(38.4,22.68)], 0.8, ends="flush", simple_path=True, layer=50, datatype=0))  # Metal4
clk_tampons_inv.add(gdstk.FlexPath([(26.4,0),(26.4,22.68)], 0.8, ends="flush", simple_path=True, layer=50, datatype=0))  # Metal4
clk_tampons_inv.add(gdstk.FlexPath([(14.4,0),(14.4,22.68)], 0.8, ends="flush", simple_path=True, layer=50, datatype=0))  # Metal4
clk_tampons_inv.add(gdstk.FlexPath([(2.4,0),(2.4,22.68)], 0.8, ends="flush", simple_path=True, layer=50, datatype=0))  # Metal4
clk_tampons_inv.add(gdstk.Reference(via_via1_xy, (29.04,9.66)))
clk_tampons_inv.add(gdstk.Reference(via_via1_xy, (10.8,9.66)))
clk_tampons_inv.add(gdstk.Reference(sg13cmos5l_inv_4, (28.32,11.34), x_reflection=True))
clk_tampons_inv.add(gdstk.Reference(sg13cmos5l_inv_4, (9.6,11.34), x_reflection=True))
clk_tampons_inv.add(gdstk.Reference(sg13cmos5l_buf_16, (19.2,11.34)))
clk_tampons_inv.add(gdstk.Reference(sg13cmos5l_fill_1, (27.84,11.34), x_reflection=True))
clk_tampons_inv.add(gdstk.Reference(sg13cmos5l_fill_1, (39.84,11.34), x_reflection=True))
clk_tampons_inv.add(gdstk.Reference(sg13cmos5l_decap_4, (6.72,11.34), x_reflection=True))
clk_tampons_inv.add(gdstk.Reference(sg13cmos5l_decap_4, (25.92,11.34), x_reflection=True))
clk_tampons_inv.add(gdstk.Reference(sg13cmos5l_decap_4, (37.92,11.34), x_reflection=True))
clk_tampons_inv.add(gdstk.Reference(sg13cmos5l_fill_2, (8.64,11.34), x_reflection=True))
clk_tampons_inv.add(gdstk.Reference(sg13cmos5l_decap_8, (19.68,3.78)))
clk_tampons_inv.add(gdstk.Reference(sg13cmos5l_decap_8, (34.56,11.34), x_reflection=True))
clk_tampons_inv.add(gdstk.Reference(sg13cmos5l_decap_8, (15.84,11.34), x_reflection=True))
clk_tampons_inv.add(gdstk.Reference(sg13cmos5l_decap_8, (12.48,11.34), x_reflection=True))
clk_tampons_inv.add(gdstk.Reference(sg13cmos5l_decap_8, (19.2,11.34), x_reflection=True))
clk_tampons_inv.add(gdstk.Reference(sg13cmos5l_decap_8, (22.56,11.34), x_reflection=True))
clk_tampons_inv.add(gdstk.Reference(sg13cmos5l_decap_8, (16.8,18.9), x_reflection=True))
clk_tampons_inv.add(gdstk.Reference(sg13cmos5l_decap_8, (0,11.34), x_reflection=True))
clk_tampons_inv.add(gdstk.Reference(sg13cmos5l_decap_8, (20.16,18.9), x_reflection=True))
clk_tampons_inv.add(gdstk.Reference(sg13cmos5l_decap_8, (31.2,11.34), x_reflection=True))
clk_tampons_inv.add(gdstk.Reference(sg13cmos5l_decap_8, (3.36,11.34), x_reflection=True))
clk_tampons_inv.add(gdstk.Reference(sg13cmos5l_fill_1, (39.84,11.34)))
clk_tampons_inv.add(gdstk.Reference(via_via1_2_800_440_1_2_4, (38.4,18.9)))
clk_tampons_inv.add(gdstk.Reference(via_via1_2_800_440_1_2_4, (26.4,18.9)))
clk_tampons_inv.add(gdstk.Reference(sg13cmos5l_decap_4, (37.92,11.34)))
clk_tampons_inv.add(gdstk.Reference(via_via1_2_800_440_1_2_4, (26.4,11.34)))
clk_tampons_inv.add(gdstk.Reference(via_via1_2_800_440_1_2_4, (38.4,11.34)))
clk_tampons_inv.add(gdstk.Reference(via_via2_3_800_440_1_2_4, (30,15.12)))
clk_tampons_inv.add(gdstk.Reference(via_via2_3_800_440_1_2_4, (38.4,18.9)))
clk_tampons_inv.add(gdstk.Reference(sg13cmos5l_decap_8, (31.2,11.34)))
clk_tampons_inv.add(gdstk.Reference(sg13cmos5l_decap_8, (34.56,11.34)))
clk_tampons_inv.add(gdstk.Reference(via_via2_3_800_440_1_2_4, (38.4,11.34)))
clk_tampons_inv.add(gdstk.Reference(via_via2_3_800_440_1_2_4, (26.4,18.9)))
clk_tampons_inv.add(gdstk.Reference(via_via2_3_800_440_1_2_4, (26.4,11.34)))
clk_tampons_inv.add(gdstk.Reference(via_via3_4_800_440_1_2_4, (38.4,18.9)))
clk_tampons_inv.add(gdstk.Reference(via_via3_4_800_440_1_2_4, (30,15.12)))
clk_tampons_inv.add(gdstk.Reference(via_via3_4_800_440_1_2_4, (26.4,18.9)))
clk_tampons_inv.add(gdstk.Reference(via_via3_4_800_440_1_2_4, (26.4,11.34)))
clk_tampons_inv.add(gdstk.Reference(via_via3_4_800_440_1_2_4, (38.4,11.34)))
clk_tampons_inv.add(gdstk.Reference(via_via1_yy, (24.24,12.18)))
clk_tampons_inv.add(gdstk.Reference(via_via1_xy, (30.48,13.02)))
clk_tampons_inv.add(gdstk.Reference(via_via1_2_800_440_1_2_4, (30,15.12)))
clk_tampons_inv.add(gdstk.Reference(sg13cmos5l_decap_8, (33.6,18.9), x_reflection=True))
clk_tampons_inv.add(gdstk.Reference(sg13cmos5l_decap_8, (36.96,18.9), x_reflection=True))
clk_tampons_inv.add(gdstk.Reference(sg13cmos5l_decap_8, (23.52,18.9), x_reflection=True))
clk_tampons_inv.add(gdstk.Reference(sg13cmos5l_decap_8, (26.88,18.9), x_reflection=True))
clk_tampons_inv.add(gdstk.Reference(sg13cmos5l_decap_8, (30.24,18.9), x_reflection=True))
clk_tampons_inv.add(gdstk.Reference(via_via1_2_800_440_1_2_4, (6,15.12)))
clk_tampons_inv.add(gdstk.Reference(via_via1_2_800_440_1_2_4, (18,15.12)))
clk_tampons_inv.add(gdstk.Reference(via_via1_2_800_440_1_2_4, (2.4,18.9)))
clk_tampons_inv.add(gdstk.Reference(sg13cmos5l_fill_2, (0,11.34)))
clk_tampons_inv.add(gdstk.Reference(sg13cmos5l_fill_2, (18.24,11.34)))
clk_tampons_inv.add(gdstk.Reference(via_via1_2_800_440_1_2_4, (2.4,11.34)))
clk_tampons_inv.add(gdstk.Reference(via_via3_4_800_440_1_2_4, (2.4,11.34)))
clk_tampons_inv.add(gdstk.Reference(via_via3_4_800_440_1_2_4, (14.4,18.9)))
clk_tampons_inv.add(gdstk.Reference(sg13cmos5l_decap_8, (12.96,11.34)))
clk_tampons_inv.add(gdstk.Reference(via_via1_2_800_440_1_2_4, (14.4,11.34)))
clk_tampons_inv.add(gdstk.Reference(sg13cmos5l_decap_8, (10.08,18.9), x_reflection=True))
clk_tampons_inv.add(gdstk.Reference(via_via2_3_800_440_1_2_4, (6,15.12)))
clk_tampons_inv.add(gdstk.Reference(via_via2_3_800_440_1_2_4, (14.4,18.9)))
clk_tampons_inv.add(gdstk.Reference(via_via3_4_800_440_1_2_4, (2.4,18.9)))
clk_tampons_inv.add(gdstk.Reference(via_via3_4_800_440_1_2_4, (6,15.12)))
clk_tampons_inv.add(gdstk.Reference(via_via3_4_800_440_1_2_4, (14.4,11.34)))
clk_tampons_inv.add(gdstk.Reference(via_via3_4_800_440_1_2_4, (18,15.12)))
clk_tampons_inv.add(gdstk.Reference(via_via2_3_800_440_1_2_4, (2.4,11.34)))
clk_tampons_inv.add(gdstk.Reference(via_via2_3_800_440_1_2_4, (2.4,18.9)))
clk_tampons_inv.add(gdstk.Reference(via_via2_3_800_440_1_2_4, (18,15.12)))
clk_tampons_inv.add(gdstk.Reference(sg13cmos5l_buf_16, (0.96,11.34)))
clk_tampons_inv.add(gdstk.Reference(sg13cmos5l_decap_8, (0,18.9), x_reflection=True))
clk_tampons_inv.add(gdstk.Reference(via_via2_3_800_440_1_2_4, (14.4,11.34)))
clk_tampons_inv.add(gdstk.Reference(via_via1_yy, (11.28,13.02)))
clk_tampons_inv.add(gdstk.Reference(via_via1_xy, (3.6,13.02)))
clk_tampons_inv.add(gdstk.Reference(sg13cmos5l_decap_4, (16.32,11.34)))
clk_tampons_inv.add(gdstk.Reference(via_via1_2_800_440_1_2_4, (14.4,18.9)))
clk_tampons_inv.add(gdstk.Reference(sg13cmos5l_decap_8, (6.72,18.9), x_reflection=True))
clk_tampons_inv.add(gdstk.Reference(sg13cmos5l_decap_8, (3.36,18.9), x_reflection=True))
clk_tampons_inv.add(gdstk.Reference(sg13cmos5l_decap_8, (13.44,18.9), x_reflection=True))
clk_tampons_inv.add(gdstk.Reference(via_via2_yx, (10.8,0.42)))
clk_tampons_inv.add(gdstk.Reference(via_via2_3_800_440_1_2_4, (2.4,3.78)))
clk_tampons_inv.add(gdstk.Reference(via_via2_3_800_440_1_2_4, (18,7.56)))
clk_tampons_inv.add(gdstk.Reference(via_via2_3_800_440_1_2_4, (6,7.56)))
clk_tampons_inv.add(gdstk.Reference(via_via2_3_800_440_1_2_4, (14.4,3.78)))
clk_tampons_inv.add(gdstk.Reference(via_via1_xy, (13.68,5.46)))
clk_tampons_inv.add(gdstk.Reference(via_via1_yy, (6,5.46)))
clk_tampons_inv.add(gdstk.Reference(via_via1_xy, (11.28,9.085)))
clk_tampons_inv.add(gdstk.Reference(via_via1_2_800_440_1_2_4, (6,7.56)))
clk_tampons_inv.add(gdstk.Reference(sg13cmos5l_buf_16, (16.32,3.78), rotation=pi, x_reflection=True))
clk_tampons_inv.add(gdstk.Reference(via_via1_2_800_440_1_2_4, (18,7.56)))
clk_tampons_inv.add(gdstk.Reference(via_via1_2_800_440_1_2_4, (2.4,3.78)))
clk_tampons_inv.add(gdstk.Reference(via_via2_yx, (11.28,5.46)))
clk_tampons_inv.add(gdstk.Reference(via_via2_yx, (6,5.46)))
clk_tampons_inv.add(gdstk.Reference(via_via1_2_800_440_1_2_4, (14.4,3.78)))
clk_tampons_inv.add(gdstk.Reference(via_via3_4_800_440_1_2_4, (6,7.56)))
clk_tampons_inv.add(gdstk.Reference(via_via3_4_800_440_1_2_4, (14.4,3.78)))
clk_tampons_inv.add(gdstk.Reference(via_via3_4_800_440_1_2_4, (2.4,3.78)))
clk_tampons_inv.add(gdstk.Reference(via_via3_4_800_440_1_2_4, (18,7.56)))
clk_tampons_inv.add(gdstk.Reference(sg13cmos5l_fill_2, (3.36,3.78)))
clk_tampons_inv.add(gdstk.Reference(via_via2_yx, (13.68,0.42)))
clk_tampons_inv.add(gdstk.Reference(via_via2_yx, (3.6,0.42)))
clk_tampons_inv.add(gdstk.Reference(sg13cmos5l_decap_8, (16.32,3.78)))
clk_tampons_inv.add(gdstk.Reference(sg13cmos5l_decap_8, (0,3.78)))
clk_tampons_inv.add(gdstk.Reference(via_via1_xy, (33.36,5.46)))
clk_tampons_inv.add(gdstk.Reference(via_via1_2_800_440_1_2_4, (38.4,3.78)))
clk_tampons_inv.add(gdstk.Reference(via_via1_xy, (30.48,9.085)))
clk_tampons_inv.add(gdstk.Reference(via_via1_2_800_440_1_2_4, (26.4,3.78)))
clk_tampons_inv.add(gdstk.Reference(via_via3_4_800_440_1_2_4, (38.4,3.78)))
clk_tampons_inv.add(gdstk.Reference(via_via1_yy, (25.68,5.46)))
clk_tampons_inv.add(gdstk.Reference(via_via2_3_800_440_1_2_4, (30,7.56)))
clk_tampons_inv.add(gdstk.Reference(via_via2_3_800_440_1_2_4, (38.4,3.78)))
clk_tampons_inv.add(gdstk.Reference(via_via2_yx, (25.68,5.46)))
clk_tampons_inv.add(gdstk.Reference(via_via2_yx, (24.24,0.42)))
clk_tampons_inv.add(gdstk.Reference(via_via2_yx, (29.04,0.42)))
clk_tampons_inv.add(gdstk.Reference(sg13cmos5l_fill_2, (39.36,3.78)))
clk_tampons_inv.add(gdstk.Reference(via_via2_3_800_440_1_2_4, (26.4,3.78)))
clk_tampons_inv.add(gdstk.Reference(sg13cmos5l_fill_2, (23.04,3.78)))
clk_tampons_inv.add(gdstk.Reference(via_via1_2_800_440_1_2_4, (30,7.56)))
clk_tampons_inv.add(gdstk.Reference(sg13cmos5l_decap_8, (36,3.78)))
clk_tampons_inv.add(gdstk.Reference(via_via3_4_800_440_1_2_4, (26.4,3.78)))
clk_tampons_inv.add(gdstk.Reference(via_via2_yx, (30.96,5.46)))
clk_tampons_inv.add(gdstk.Reference(via_via2_yx, (33.36,0.42)))
clk_tampons_inv.add(gdstk.Reference(via_via3_4_800_440_1_2_4, (30,7.56)))
clk_tampons_inv.add(gdstk.Reference(sg13cmos5l_buf_16, (36,3.78), rotation=pi, x_reflection=True))
clk_tampons_inv.add(gdstk.Label('VDD', (20.16,7.56), layer=8, texttype=25))
clk_tampons_inv.add(gdstk.Label('VSS', (20.16,3.78), layer=8, texttype=25))
clk_tampons_inv.add(gdstk.Label('VDD', (6,11.34), layer=50, texttype=25))
clk_tampons_inv.add(gdstk.Label('VSS', (2.4,11.34), layer=50, texttype=25))
clk_tampons_inv.add(gdstk.Label('i_a', (8.4,0.4), layer=30, texttype=25))
clk_tampons_inv.add(gdstk.Label('i_b', (28.56,0.4), layer=30, texttype=25))
clk_tampons_inv.add(gdstk.Label('o_a0', (3.36,0.4), layer=30, texttype=25))
clk_tampons_inv.add(gdstk.Label('o_a1', (13.44,0.4), layer=30, texttype=25))
clk_tampons_inv.add(gdstk.Label('o_b0', (23.52,0.4), layer=30, texttype=25))
clk_tampons_inv.add(gdstk.Label('o_b1', (33.6,0.4), layer=30, texttype=25))

lib.write_gds('clk_tampons_inv.gds')
